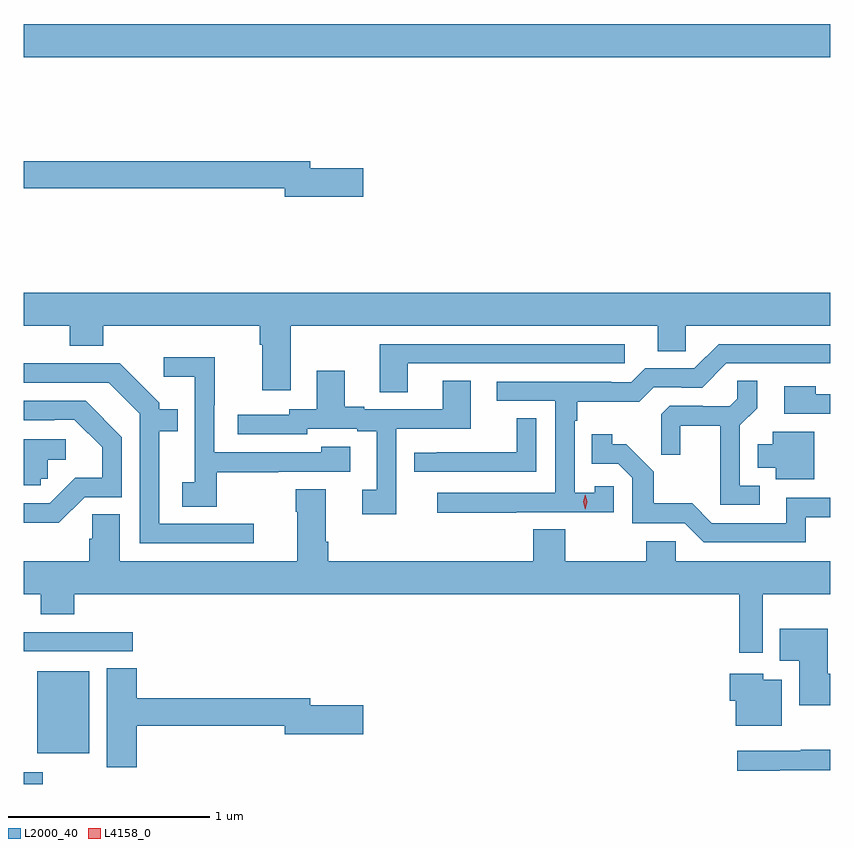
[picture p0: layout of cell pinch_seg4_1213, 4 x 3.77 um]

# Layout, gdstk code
import gdstk
lib = gdstk.Library(unit=1e-6, precision=1e-09)
def R(c, l, rs):  # rectangles x0, y0, x1, y1
    for r in rs: c.add(gdstk.rectangle(r[:2], r[2:], *l))
def P(c, l, *ps):  # polygons
    for p in ps: c.add(gdstk.Polygon(p, *l))
L2000_40 = (2000, 40)
L4158_0 = (4158, 0)

pinch_seg4_1213 = lib.new_cell('pinch_seg4_1213')
R(pinch_seg4_1213, L2000_40, [(322.336,807.866,322.431,807.924), (322.403,808.019,322.66,808.426), (322.336,808.524,322.876,808.62), (322.336,811.472,326.336,811.636)])
P(pinch_seg4_1213, L2000_40, [(324.019,810.92),(323.758,810.92),(323.758,810.956),(322.336,810.956),(322.336,810.82),(323.63,810.82),(323.63,810.778),(324.019,810.778)],
  [(323.659,810.14),(325.481,810.14),(325.481,810.013),(325.62,810.013),(325.62,810.14),(326.336,810.14),(326.336,810.304),(322.336,810.304),(322.336,810.14),(322.565,810.14),(322.565,810.041),(322.73,810.041),(322.73,810.14),(323.507,810.14),(323.507,810.044),(323.519,810.044),(323.519,809.82),(323.659,809.82)],
  [(324.241,809.952),(325.318,809.952),(325.318,810.048),(324.101,810.048),(324.101,809.809),(324.241,809.809)],
  [(324.779,809.214),(325.263,809.214),(325.263,809.343),(325.167,809.343),(325.167,809.311),(325.068,809.311),(325.068,809.669),(325.081,809.669),(325.081,809.762),(325.388,809.762),(325.461,809.835),(325.6,809.835),(325.6,809.832),(325.701,809.832),(325.821,809.952),(326.336,809.952),(326.336,810.048),(325.782,810.048),(325.662,809.928),(325.419,809.928),(325.35,809.859),(325.25,809.859),(325.25,809.862),(324.681,809.862),(324.681,809.766),(324.972,809.766),(324.972,809.31),(324.387,809.31),(324.387,809.212),(324.779,809.212)],
  [(323.293,809.413),(323.597,809.413),(323.597,809.415),(323.956,809.415),(323.956,809.539),(323.811,809.539),(323.811,809.511),(323.28,809.511),(323.28,809.744),(323.283,809.744),(323.283,809.983),(323.031,809.983),(323.031,809.885),(323.184,809.885),(323.184,809.364),(323.121,809.364),(323.121,809.242),(323.293,809.242)],
  [(323.476,809.157),(323.008,809.157),(323.008,809.616),(323.099,809.616),(323.099,809.725),(323.007,809.725),(323.007,809.757),(322.812,809.952),(322.481,809.952),(322.481,809.954),(322.336,809.954),(322.336,809.856),(322.758,809.856),(322.911,809.703),(322.911,809.061),(323.476,809.061)],
  [(324.183,809.628),(324.553,809.628),(324.553,809.867),(324.413,809.867),(324.413,809.724),(324.025,809.724),(324.025,809.737),(323.929,809.737),(323.929,809.917),(323.789,809.917),(323.789,809.724),(323.652,809.724),(323.652,809.697),(323.397,809.697),(323.397,809.601),(323.742,809.601),(323.742,809.628),(323.99,809.628),(323.99,809.616),(324.086,809.616),(324.086,809.325),(324.015,809.325),(324.015,809.205),(324.183,809.205)],
  [(325.987,809.346),(325.887,809.346),(325.887,809.645),(325.973,809.731),(325.973,809.867),(325.875,809.867),(325.875,809.776),(325.838,809.739),(325.704,809.739),(325.704,809.742),(325.539,809.742),(325.498,809.701),(325.498,809.499),(325.592,809.499),(325.592,809.642),(325.79,809.642),(325.79,809.25),(325.987,809.25)],
  [(326.336,809.799),(326.265,809.799),(326.265,809.839),(326.109,809.839),(326.109,809.703),(326.336,809.703)],
  [(322.638,809.289),(322.821,809.289),(322.821,809.587),(322.642,809.766),(322.336,809.766),(322.336,809.67),(322.487,809.67),(322.487,809.673),(322.587,809.673),(322.724,809.536),(322.724,809.386),(322.591,809.386),(322.464,809.259),(322.336,809.259),(322.336,809.162),(322.51,809.162)],
  [(324.879,809.681),(324.781,809.681),(324.781,809.511),(324.385,809.511),(324.385,809.51),(324.273,809.51),(324.273,809.415),(324.879,809.415)],
  [(326.257,809.614),(326.051,809.614),(326.051,809.551),(325.976,809.551),(325.976,809.435),(326.066,809.435),(326.066,809.378),(326.257,809.378)],
  [(326.216,809.19),(326.336,809.19),(326.336,809.286),(326.117,809.286),(326.117,809.16),(325.749,809.16),(325.651,809.259),(325.462,809.259),(325.462,809.414),(325.324,809.552),(325.254,809.552),(325.254,809.602),(325.153,809.602),(325.153,809.454),(325.284,809.454),(325.353,809.385),(325.353,809.16),(325.614,809.16),(325.71,809.064),(326.216,809.064)],
  [(322.419,809.379),(322.455,809.379),(322.455,809.474),(322.543,809.474),(322.543,809.577),(322.336,809.577),(322.336,809.349),(322.419,809.349)],
  [(326.001,808.808),(326.336,808.808),(326.336,808.972),(325.569,808.972),(325.569,809.07),(325.423,809.07),(325.423,808.972),(325.023,808.972),(325.023,809.129),(324.863,809.129),(324.863,808.972),(323.846,808.972),(323.846,809.068),(323.833,809.068),(323.833,809.329),(323.686,809.329),(323.686,809.216),(323.693,809.216),(323.693,808.972),(322.813,808.972),(322.813,809.204),(322.675,809.204),(322.675,809.082),(322.661,809.082),(322.661,808.972),(322.336,808.972),(322.336,808.808),(322.421,808.808),(322.421,808.709),(322.586,808.709),(322.586,808.808),(325.885,808.808),(325.885,808.518),(326.001,808.518)],
  [(326.336,808.414),(326.323,808.414),(326.323,808.636),(326.086,808.636),(326.086,808.478),(326.183,808.478),(326.183,808.256),(326.336,808.256)],
  [(322.895,808.156),(323.63,808.156),(323.63,808.114),(324.019,808.114),(324.019,808.256),(323.758,808.256),(323.758,808.292),(322.895,808.292),(322.895,808.439),(322.748,808.439),(322.748,807.948),(322.895,807.948)],
  [(326.095,808.384),(326.004,808.384),(326.004,808.414),(325.838,808.414),(325.838,808.278),(325.868,808.278),(325.868,808.154),(326.095,808.154)],
  [(326.087,807.935),(326.336,807.935),(326.336,808.035),(326.191,808.035),(326.191,808.032),(325.875,808.032),(325.875,807.931),(326.087,807.931)])
P(pinch_seg4_1213, L4158_0, [(325.121,809.229),(325.121,809.229),(325.111,809.265),(325.121,809.301),(325.121,809.301),(325.121,809.301),(325.131,809.265),(325.121,809.229)])

lib.write_gds('pinch_seg4_1213.gds')
